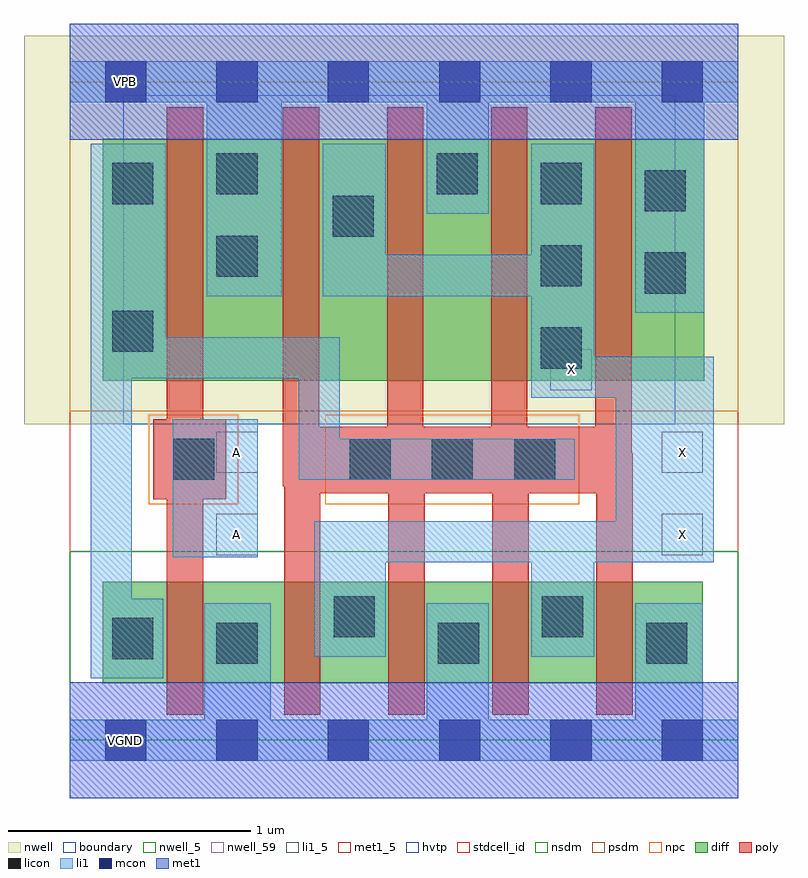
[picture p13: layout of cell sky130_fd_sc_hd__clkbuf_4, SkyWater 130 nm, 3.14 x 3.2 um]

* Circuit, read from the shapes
.subckt sky130_fd_sc_hd__clkbuf_4 A VGND VNB VPB VPWR X
XM1 VGND A n1 VNB sky130_fd_pr__nfet_01v8 w=0.42 l=0.15
XM2 X n1 VGND VNB sky130_fd_pr__nfet_01v8 w=0.42 l=0.15 m=4
XM3 VPWR A n1 VPB sky130_fd_pr__pfet_01v8_hvt w=1 l=0.15
XM4 X n1 VPWR VPB sky130_fd_pr__pfet_01v8_hvt w=1 l=0.15 m=4
.ends

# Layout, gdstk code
import gdstk
lib = gdstk.Library(unit=1e-6, precision=1e-09)
def R(c, l, rs):  # rectangles x0, y0, x1, y1
    for r in rs: c.add(gdstk.rectangle(r[:2], r[2:], *l))
def A(c, l, x, y, w, h, nx, ny, dx, dy):  # array of equal rectangles
    R(c, l, [(x+i*dx, y+j*dy, x+i*dx+w, y+j*dy+h) for i in range(nx) for j in range(ny)])
nwell_5 = (64, 5)
nwell = (64, 20)
nwell_59 = (64, 59)
diff = (65, 20)
poly = (66, 20)
licon = (66, 44)
li1_5 = (67, 5)
li1 = (67, 20)
mcon = (67, 44)
met1_5 = (68, 5)
met1 = (68, 20)
hvtp = (78, 44)
stdcell_id = (81, 4)
nsdm = (93, 44)
psdm = (94, 20)
npc = (95, 20)
boundary = (235, 4)

sky130_fd_sc_hd__clkbuf_ = lib.new_cell('sky130_fd_sc_hd__clkbuf_4')
R(sky130_fd_sc_hd__clkbuf_, nwell_5, [(0.145,2.635,0.315,2.805)])
R(sky130_fd_sc_hd__clkbuf_, nwell, [(-0.19,1.305,2.95,2.91)])
R(sky130_fd_sc_hd__clkbuf_, nwell_59, [(0.145,-0.085,0.315,0.085)])
R(sky130_fd_sc_hd__clkbuf_, diff, [(0.135,0.235,2.615,0.655), (0.135,1.485,2.62,2.485)])
A(sky130_fd_sc_hd__clkbuf_, poly, 0.885, 0.105, 0.15, 0.915, 4, 1, 0.43, 0)
A(sky130_fd_sc_hd__clkbuf_, poly, 0.88, 1.295, 0.15, 1.32, 4, 1, 0.43, 0)
R(sky130_fd_sc_hd__clkbuf_, poly, [(0.4,0.105,0.55,0.995), (0.345,0.995,0.645,1.325), (0.885,1.02,2.325,1.05), (0.88,1.05,2.325,1.185), (0.88,1.185,2.32,1.295), (0.4,1.325,0.55,2.615)])
A(sky130_fd_sc_hd__clkbuf_, licon, 1.155, 1.075, 0.17, 0.17, 3, 1, 0.34, 0)
A(sky130_fd_sc_hd__clkbuf_, licon, 1.945, 1.535, 0.17, 0.17, 1, 3, 0, 0.34)
R(sky130_fd_sc_hd__clkbuf_, licon, [(0.605,0.315,0.775,0.485), (1.52,0.315,1.69,0.485), (2.38,0.315,2.55,0.485), (0.175,0.335,0.345,0.505), (1.09,0.425,1.26,0.595), (1.95,0.425,2.12,0.595), (0.425,1.075,0.595,1.245), (0.175,1.605,0.345,1.775), (2.375,1.845,2.545,2.015), (0.605,1.915,0.775,2.085), (1.085,2.08,1.255,2.25), (2.375,2.185,2.545,2.355), (0.175,2.215,0.345,2.385), (0.605,2.255,0.775,2.425), (1.515,2.255,1.685,2.425)])
R(sky130_fd_sc_hd__clkbuf_, li1_5, [(0.605,0.765,0.775,0.935), (2.445,0.765,2.615,0.935), (0.605,1.105,0.775,1.275), (2.445,1.105,2.615,1.275), (1.985,1.445,2.155,1.615)])
R(sky130_fd_sc_hd__clkbuf_, li1, [(0,-0.085,2.76,0.085), (0.555,0.085,0.83,0.565), (1.475,0.085,1.73,0.565), (2.335,0.085,2.615,0.565), (0.085,0.255,0.385,0.585), (1.01,0.345,1.305,0.735), (1.905,0.345,2.165,0.735), (0.085,0.585,0.255,1.495), (1.01,0.735,2.66,0.905), (0.425,0.755,0.775,1.325), (2.255,0.905,2.66,1.415), (0.945,1.075,2.085,1.245), (0.945,1.245,1.115,1.495), (1.905,1.415,2.66,1.585), (0.085,1.495,1.115,1.665), (1.905,1.585,2.165,1.835), (0.085,1.665,0.395,2.465), (2.335,1.765,2.62,2.635), (0.565,1.835,0.875,2.635), (1.045,1.835,2.165,2.005), (1.045,2.005,1.305,2.465), (1.905,2.005,2.165,2.465), (1.475,2.175,1.73,2.635), (0,2.635,2.76,2.805)])
A(sky130_fd_sc_hd__clkbuf_, mcon, 0.145, -0.085, 0.17, 0.17, 6, 2, 0.46, 2.72)
R(sky130_fd_sc_hd__clkbuf_, met1_5, [(0.145,-0.085,0.315,0.085), (0.145,2.635,0.315,2.805)])
R(sky130_fd_sc_hd__clkbuf_, met1, [(0,-0.24,2.76,0.24), (0,2.48,2.76,2.96)])
R(sky130_fd_sc_hd__clkbuf_, hvtp, [(0.22,1.305,2.5,2.665)])
R(sky130_fd_sc_hd__clkbuf_, stdcell_id, [(0,0,2.76,2.72)])
R(sky130_fd_sc_hd__clkbuf_, nsdm, [(0,0,2.76,0.78)])
R(sky130_fd_sc_hd__clkbuf_, psdm, [(0,1.36,2.76,2.72)])
R(sky130_fd_sc_hd__clkbuf_, npc, [(0.325,0.975,0.695,1.345), (1.055,0.975,2.105,1.345)])
R(sky130_fd_sc_hd__clkbuf_, boundary, [(0,0,2.76,2.72)])
sky130_fd_sc_hd__clkbuf_.add(gdstk.Label('A', (0.69,0.85), layer=67, texttype=5))
sky130_fd_sc_hd__clkbuf_.add(gdstk.Label('A', (0.69,1.19), layer=67, texttype=5))
sky130_fd_sc_hd__clkbuf_.add(gdstk.Label('VGND', (0.23,0), layer=68, texttype=5))
sky130_fd_sc_hd__clkbuf_.add(gdstk.Label('VNB', (0.23,0), layer=64, texttype=59))
sky130_fd_sc_hd__clkbuf_.add(gdstk.Label('VPB', (0.23,2.72), layer=64, texttype=5))
sky130_fd_sc_hd__clkbuf_.add(gdstk.Label('VPWR', (0.23,2.72), layer=68, texttype=5))
sky130_fd_sc_hd__clkbuf_.add(gdstk.Label('X', (2.07,1.53), layer=67, texttype=5))
sky130_fd_sc_hd__clkbuf_.add(gdstk.Label('X', (2.53,0.85), layer=67, texttype=5))
sky130_fd_sc_hd__clkbuf_.add(gdstk.Label('X', (2.53,1.19), layer=67, texttype=5))

lib.write_gds('sky130_fd_sc_hd__clkbuf_4.gds')
